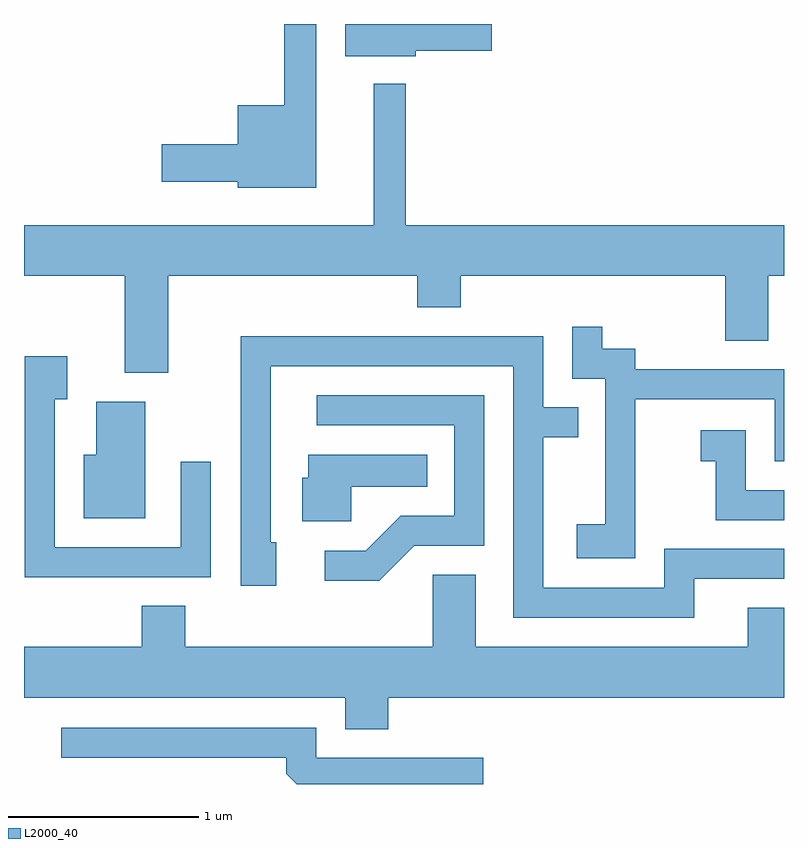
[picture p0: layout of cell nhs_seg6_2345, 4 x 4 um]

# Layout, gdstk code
import gdstk
lib = gdstk.Library(unit=1e-6, precision=1e-09)
def P(c, l, *ps):  # polygons
    for p in ps: c.add(gdstk.Polygon(p, *l))
L2000_40 = (2000, 40)

nhs_seg6_2345 = lib.new_cell('nhs_seg6_2345')
P(nhs_seg6_2345, L2000_40, [(257.674,1640.021),(258.074,1640.021),(258.074,1640.162),(257.301,1640.162),(257.301,1639.991),(257.674,1639.991)],
  [(257.149,1640.162),(256.981,1640.162),(256.981,1639.734),(256.736,1639.734),(256.736,1639.529),(256.336,1639.529),(256.336,1639.331),(256.736,1639.331),(256.736,1639.301),(257.149,1639.301)],
  [(256.369,1638.836),(257.681,1638.836),(257.681,1638.671),(257.909,1638.671),(257.909,1638.836),(259.301,1638.836),(259.301,1638.496),(259.529,1638.496),(259.529,1638.836),(259.611,1638.836),(259.611,1639.104),(257.619,1639.104),(257.619,1639.848),(257.451,1639.848),(257.451,1639.104),(255.611,1639.104),(255.611,1638.836),(256.141,1638.836),(256.141,1638.326),(256.369,1638.326)],
  [(258.829,1638.186),(259.561,1638.186),(259.561,1637.861),(259.611,1637.861),(259.611,1638.344),(258.829,1638.344),(258.829,1638.454),(258.654,1638.454),(258.654,1638.568),(258.496,1638.568),(258.496,1638.296),(258.671,1638.296),(258.671,1637.529),(258.521,1637.529),(258.521,1637.351),(258.829,1637.351)],
  [(259.139,1637.241),(259.611,1637.241),(259.611,1637.399),(258.981,1637.399),(258.981,1637.194),(258.344,1637.194),(258.344,1637.986),(258.528,1637.986),(258.528,1638.144),(258.344,1638.144),(258.344,1638.519),(256.751,1638.519),(256.751,1637.206),(256.939,1637.206),(256.939,1637.434),(256.909,1637.434),(256.909,1638.361),(258.186,1638.361),(258.186,1637.036),(259.139,1637.036)],
  [(256.594,1637.858),(256.436,1637.858),(256.436,1637.409),(255.774,1637.409),(255.774,1638.186),(255.839,1638.186),(255.839,1638.414),(255.616,1638.414),(255.616,1637.251),(256.594,1637.251)],
  [(257.666,1637.416),(258.034,1637.416),(258.034,1638.209),(257.153,1638.209),(257.153,1638.051),(257.876,1638.051),(257.876,1637.574),(257.594,1637.574),(257.409,1637.389),(257.193,1637.389),(257.193,1637.231),(257.481,1637.231)],
  [(256.249,1638.174),(255.991,1638.174),(255.991,1637.894),(255.926,1637.894),(255.926,1637.561),(256.249,1637.561)],
  [(259.611,1637.709),(259.409,1637.709),(259.409,1638.024),(259.173,1638.024),(259.173,1637.861),(259.251,1637.861),(259.251,1637.551),(259.611,1637.551)],
  [(257.334,1637.726),(257.733,1637.726),(257.733,1637.894),(257.106,1637.894),(257.106,1637.774),(257.076,1637.774),(257.076,1637.546),(257.334,1637.546)],
  [(257.529,1636.616),(259.611,1636.616),(259.611,1637.089),(259.421,1637.089),(259.421,1636.884),(257.989,1636.884),(257.989,1637.264),(257.761,1637.264),(257.761,1636.884),(256.459,1636.884),(256.459,1637.099),(256.231,1637.099),(256.231,1636.884),(255.611,1636.884),(255.611,1636.616),(257.301,1636.616),(257.301,1636.451),(257.529,1636.451)],
  [(258.028,1636.299),(257.149,1636.299),(257.149,1636.459),(255.808,1636.459),(255.808,1636.301),(256.991,1636.301),(256.991,1636.217),(257.046,1636.162),(258.028,1636.162)])

lib.write_gds('nhs_seg6_2345.gds')
